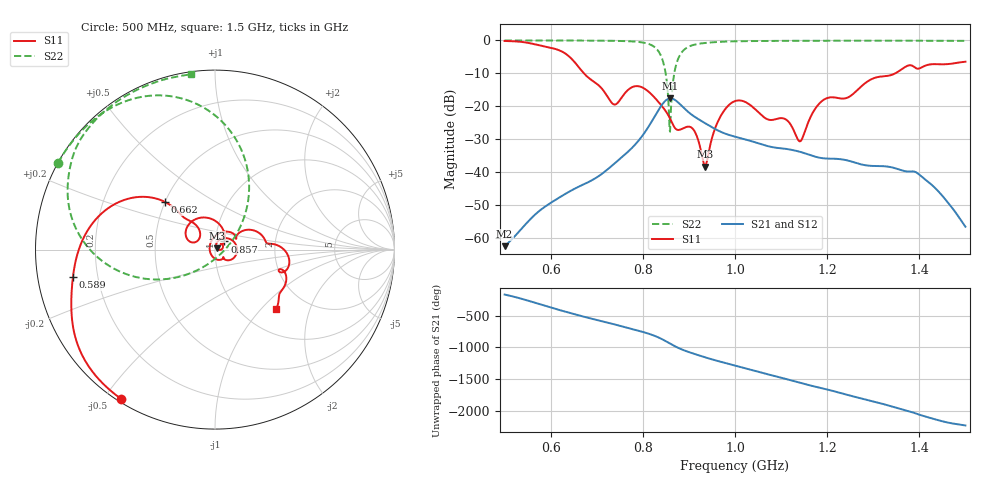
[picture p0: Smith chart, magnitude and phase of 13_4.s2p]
! TOUCHSTONE file generated by CST MICROWAVE STUDIO
! Date and time: Wed Oct 28 19:15:47 2020
! Project name: Scenario_1_Circular_Tissue_out_of_Line.cst
! Parameters = {dy1=-137.908; L_HA=400; MT=2.54; Rad_Dielectric=30; Rad_Lower=7.3; Rad_Upper=30; a_HA=580; a_WG=246; b_HA=500; b_WG=121; c_HA=0; c_WG=187; d_feed=85; dx1=693; h_feed=15; h_lower=18; h_upper=40}
! Header version: 2018
! Port assignment regex: !\s*Touchstone port\s*([0-9]+)\s*=\s*(CST MWS port|CST DS port)\s*([0-9]+|Zmin|Zmax)\s*\(\"(.*)\"\)(\s*mode\s*([0-9]+))?.*
! Touchstone port assignment:
! Touchstone port 1 = CST MWS port 1 ("")
! Touchstone port 2 = CST MWS port 2 ("")
# GHz S DB R 50
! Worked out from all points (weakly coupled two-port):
!   1001 points, 500 MHz to 1.5 GHz, reference 50 ohm
!   highest |S21| = -17.57 dB at 860 MHz (marker M1); lowest = -62.4 dB at 500 MHz (marker M2)
!   lowest |S11| = -38.2 dB at 935 MHz (marker M3), VSWR 1.02, Z = 51 + j0.718 ohm
!   |S11| at or under -10 dB: 672.3 MHz to 1.347 GHz (675.1 MHz wide, 66.8 % of centre)
!   |S22| runs from -27.7 to 0.0 dB; largest |S21 - S12| = 0.00043
!   S11 on the Smith chart (normalised r, x): 500 MHz: 0.01, -0.55; 589 MHz: 0.11, -0.09; 662 MHz: 0.50, +0.31; 857 MHz: 1.11, +0.10; 1.5 GHz: 1.41, -1.22
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0.5  -0.15 -122.3  -62.35 -169.6  -62.33 -169.5  -0.01 151.1
0.589  -1.87 -169.1  -50.25 9.7  -50.23 9.3  -0.02 144.9
0.662  -8.28 136.4  -44.24 -138.3  -44.25 -138.3  -0.04 138.8
0.667  -9.14 135.1  -43.90 -148.0  -43.91 -148.0  -0.04 138.4
0.737  -19.39 144.2  -37.48 85.2  -37.44 85.2  -0.12 129.8
0.786  -13.84 132.3  -31.15 -8.5  -31.15 -8.4  -0.39 118.4
0.834  -18.66 66.2  -21.06 -123.2  -21.10 -123.2  -3.31 84.2
0.847  -20.92 51.4  -18.54 -170.2  -18.55 -170.2  -8.16 60.9
0.857  -23.13 40.7  -17.62 149.3  -17.62 149.2  -23.10 12.0
0.86  -23.97 38.3  -17.57 137.0  -17.57 137.0  -24.15 -100.6
0.869  -26.42 39.0  -17.97 101.5  -17.97 101.6  -9.36 -150.8
0.88  -27.08 45.3  -19.23 63.2  -19.21 63.3  -4.57 -170.8
0.91  -27.06 12.3  -22.90 -17.0  -22.90 -17.0  -1.36 162.6
0.935  -38.23 35.0  -25.07 -74.2  -25.06 -74.1  -0.77 152.9
0.964  -24.26 64.5  -27.36 -134.8  -27.36 -134.8  -0.45 146.2
1  -18.38 11.4  -29.17 155.8  -29.17 155.8  -0.27 140.3
1.11  -23.91 -64.0  -32.85 -53.2  -32.87 -53.3  -0.12 128.9
1.14  -30.57 -166.4  -33.71 -112.0  -33.68 -112.1  -0.11 126.4
1.167  -22.36 88.5  -34.93 -162.8  -34.94 -162.8  -0.10 124.2
1.334  -10.66 6.7  -38.29 -113.0  -38.29 -113.0  -0.09 111.5
1.398  -8.57 -17.5  -40.45 109.9  -40.42 109.8  -0.09 106.5
1.5  -6.45 -44.5  -56.46 -63.6  -56.36 -63.9  -0.13 97.9
